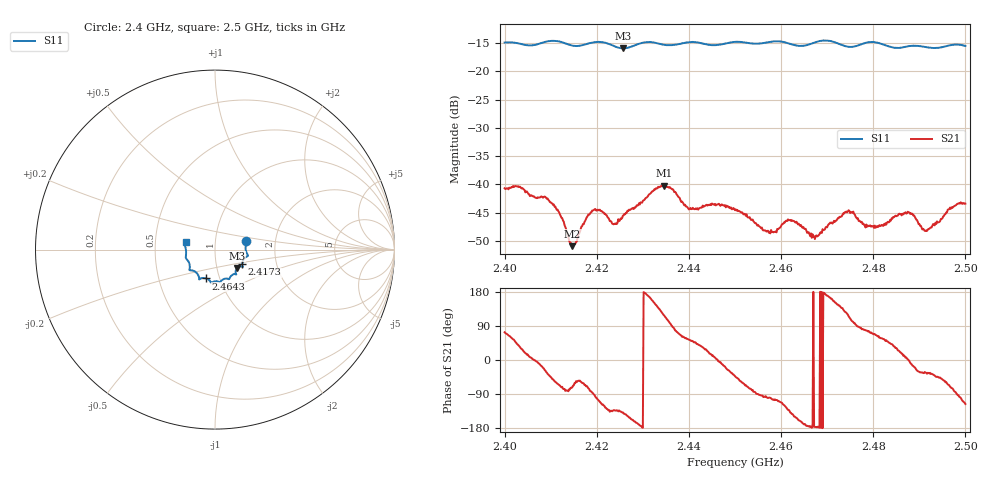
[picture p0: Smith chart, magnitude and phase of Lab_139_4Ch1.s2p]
# Hz S RI R 50
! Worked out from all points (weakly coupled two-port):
!   601 points, 2.4 GHz to 2.5 GHz, reference 50 ohm
!   highest |S21| = -40.21 dB at 2.4347 GHz (marker M1); lowest = -51.0 dB at 2.4147 GHz (marker M2)
!   lowest |S11| = -15.9 dB at 2.4257 GHz (marker M3), VSWR 1.38, Z = 62.5 - j13.1 ohm
!   |S11| at or under -10 dB: start of sweep to end of sweep
!   S12 and S22 are empty: the file has one direction only
!   S11 on the Smith chart (normalised r, x): 2.4 GHz: 1.41, +0.14; 2.4173 GHz: 1.34, -0.23; 2.4643 GHz: 0.86, -0.29; 2.5 GHz: 0.72, +0.06
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2.4e9  0.1737 0.049  0.00268 0.00884  0 0  0 0
2.409167e9  0.1819 -0.0289  0.00623 -0.00411  0 0  0 0
2.412e9  0.1802 -0.0369  0.00208 -0.00502  0 0  0 0
2.414667e9  0.1614 -0.0524  0.000846 -0.00271  0 0  0 0
2.416667e9  0.153 -0.0745  0.00222 -0.0036  0 0  0 0
2.417333e9  0.1522 -0.0818  0.00191 -0.00423  0 0  0 0
2.4195e9  0.154 -0.0965  -0.00024 -0.00599  0 0  0 0
2.423833e9  0.1384 -0.0942  -0.00302 -0.00331  0 0  0 0
2.425667e9  0.1231 -0.1025  -0.00394 -0.00352  0 0  0 0
2.433333e9  0.1126 -0.1365  -0.00707 0.00638  0 0  0 0
2.434667e9  0.1044 -0.1369  -0.00441 0.0087  0 0  0 0
2.440167e9  0.0797 -0.164  0.00369 0.00485  0 0  0 0
2.45e9  0.0293 -0.1806  0.00436 -0.00397  0 0  0 0
2.457167e9  -0.0143 -0.181  -0.000683 -0.00382  0 0  0 0
2.464333e9  -0.0499 -0.1608  -0.00415 -0.00131  0 0  0 0
2.466667e9  -0.076 -0.1597  -0.00336 -6.87e-05  0 0  0 0
2.474333e9  -0.1001 -0.1325  -0.00299 0.00478  0 0  0 0
2.4785e9  -0.1383 -0.1153  0.00094 0.00431  0 0  0 0
2.483333e9  -0.1406 -0.0901  0.00317 0.00334  0 0  0 0
2.488e9  -0.1604 -0.0509  0.00545 -0.000652  0 0  0 0
2.491667e9  -0.1613 -0.0286  0.00312 -0.00228  0 0  0 0
2.5e9  -0.1631 0.0419  -0.00296 -0.00607  0 0  0 0
